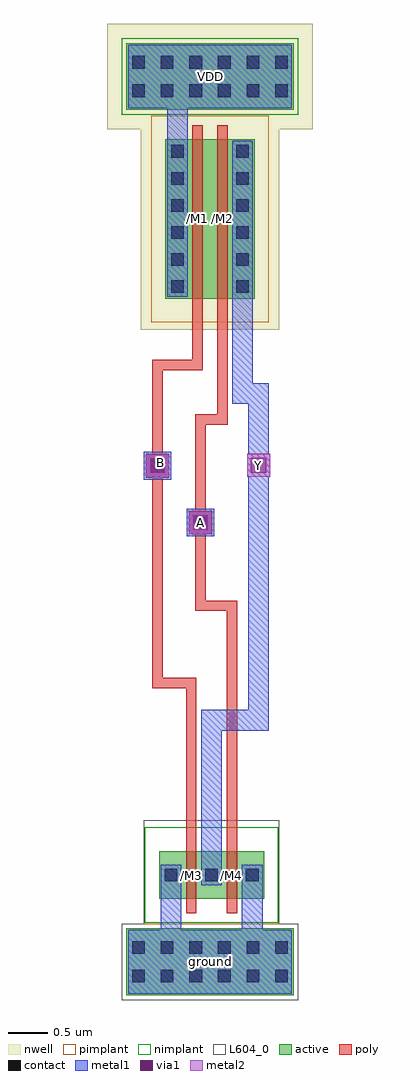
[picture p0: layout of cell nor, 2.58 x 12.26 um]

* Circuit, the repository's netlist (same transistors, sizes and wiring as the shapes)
* LVS netlist generated with ICnet by 'penatb' on Wed Mar  6 2019 at 20:18:14

*
* Globals.
*
.global ground VDD

*
* Component pathname : $LAB_1/Tutorials/Tutorial_5
*
.subckt Tutorial_5  Y A B

        M4 Y A ground ground nmos l=0.13u w=0.6u m=1
        M3 Y B ground ground nmos l=0.13u w=0.6u m=1
        M2 Y A N$5 VDD pmos l=0.13u w=2u m=1
        M1 N$5 B VDD VDD pmos l=0.13u w=2u m=1
.ends Tutorial_5

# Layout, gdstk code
import gdstk
lib = gdstk.Library(unit=1e-6, precision=1e-09)
def R(c, l, rs):  # rectangles x0, y0, x1, y1
    for r in rs: c.add(gdstk.rectangle(r[:2], r[2:], *l))
def A(c, l, x, y, w, h, nx, ny, dx, dy):  # array of equal rectangles
    R(c, l, [(x+i*dx, y+j*dy, x+i*dx+w, y+j*dy+h) for i in range(nx) for j in range(ny)])
def P(c, l, *ps):  # polygons
    for p in ps: c.add(gdstk.Polygon(p, *l))
nwell = (3, 0)
active = (6, 0)
poly = (17, 0)
pimplant = (25, 0)
nimplant = (26, 0)
contact = (30, 0)
metal1 = (31, 0)
metal2 = (32, 0)
via1 = (51, 0)
L604_0 = (604, 0)

poly_m1 = lib.new_cell('POLY_M1')
R(poly_m1, poly, [(-0.15,-0.15,0.15,0.15)])
R(poly_m1, contact, [(-0.08,-0.08,0.08,0.08)])
R(poly_m1, metal1, [(-0.13,-0.13,0.13,0.13)])

m1m2 = lib.new_cell('M1M2')
R(m1m2, metal1, [(-0.145,-0.145,0.145,0.145)])
R(m1m2, metal2, [(-0.145,-0.145,0.145,0.145)])
R(m1m2, via1, [(-0.095,-0.095,0.095,0.095)])

nor = lib.new_cell('nor')
R(nor, nwell, [(24.11,103.125,25.85,105.905), (23.69,105.645,26.27,106.965)])
R(nor, active, [(23.93,94.76,26.03,95.6), (24.34,95.97,25.66,96.57), (24.42,103.515,25.54,105.515), (23.93,105.885,26.03,106.725)])
R(nor, poly, [(24.68,95.79,24.81,95.97), (25.19,95.79,25.32,95.97), (24.68,95.97,24.81,96.57), (25.19,95.97,25.32,96.57), (24.68,96.57,24.81,96.75), (25.19,96.57,25.32,96.75), (24.76,103.335,24.89,103.515), (25.07,103.335,25.2,103.515), (24.76,103.515,24.89,105.515), (25.07,103.515,25.2,105.515), (24.76,105.515,24.89,105.695), (25.07,105.515,25.2,105.695)])
P(nor, poly, [(24.795,99.59),(25.19,99.59),(25.19,96.62),(25.32,96.62),(25.32,99.72),(24.925,99.72),(24.925,101.93),(25.2,101.93),(25.2,103.465),(25.07,103.465),(25.07,102.06),(24.795,102.06)],
  [(24.255,98.62),(24.68,98.62),(24.68,96.62),(24.81,96.62),(24.81,98.75),(24.385,98.75),(24.385,102.615),(24.89,102.615),(24.89,103.465),(24.76,103.465),(24.76,102.745),(24.255,102.745)])
R(nor, pimplant, [(23.87,94.7,26.09,95.66), (24.24,103.215,25.72,105.815)])
R(nor, nimplant, [(24.16,95.67,25.84,96.87), (23.87,105.825,26.09,106.785)])
A(nor, contact, 24, 94.92, 0.16, 0.16, 6, 2, 0.36, 0.36)
A(nor, contact, 24.41, 96.19, 0.16, 0.16, 3, 1, 0.51, 0)
A(nor, contact, 24.49, 103.585, 0.16, 0.16, 1, 6, 0, 0.34)
A(nor, contact, 25.31, 103.585, 0.16, 0.16, 1, 6, 0, 0.34)
A(nor, contact, 24, 106.045, 0.16, 0.16, 6, 2, 0.36, 0.36)
A(nor, metal1, 24.36, 96.14, 0.26, 0.26, 3, 1, 0.51, 0)
R(nor, metal1, [(23.95,94.78,26.01,95.58), (23.95,94.78,26.01,95.58), (24.36,95.32,24.62,96.4), (25.38,95.32,25.64,96.4), (24.685,100.525,25.035,100.875), (24.145,101.24,24.495,101.59), (24.44,103.535,24.7,105.495), (25.26,103.535,25.52,105.495), (24.44,105.235,24.7,106.165), (23.95,105.905,26.01,106.705), (23.95,105.905,26.01,106.705)])
P(nor, metal1, [(24.87,96.14),(25.13,96.14),(25.13,98.085),(25.72,98.085),(25.72,102.45),(25.52,102.45),(25.52,103.795),(25.26,103.795),(25.26,102.19),(25.46,102.19),(25.46,98.345),(24.87,98.345)])
R(nor, metal2, [(24.76,100.6,24.96,100.8), (25.49,101.32,25.69,101.52), (24.255,101.35,24.455,101.55)])
R(nor, L604_0, [(23.87,94.7,26.09,95.66), (24.15,95.58,25.85,96.96)])
nor.add(gdstk.Reference(poly_m1, (24.86,100.7)))
nor.add(gdstk.Reference(m1m2, (24.86,100.7)))
nor.add(gdstk.Reference(poly_m1, (24.32,101.415)))
nor.add(gdstk.Reference(m1m2, (24.32,101.415)))
nor.add(gdstk.Reference(m1m2, (25.59,101.42)))
nor.add(gdstk.Label('/M1', (24.825,104.515), layer=17, texttype=0))
nor.add(gdstk.Label('/M2', (25.135,104.515), layer=17, texttype=0))
nor.add(gdstk.Label('/M3', (24.745,96.27), layer=17, texttype=0))
nor.add(gdstk.Label('/M4', (25.255,96.27), layer=17, texttype=0))
nor.add(gdstk.Label('A', (24.86,100.7), layer=132, texttype=0))
nor.add(gdstk.Label('B', (24.355,101.45), layer=132, texttype=0))
nor.add(gdstk.Label('Y', (25.59,101.42), layer=132, texttype=0))
nor.add(gdstk.Label('VDD', (24.98,106.305), layer=131, texttype=0))
nor.add(gdstk.Label('ground', (24.98,95.18), layer=131, texttype=0))

lib.write_gds('nor.gds')
